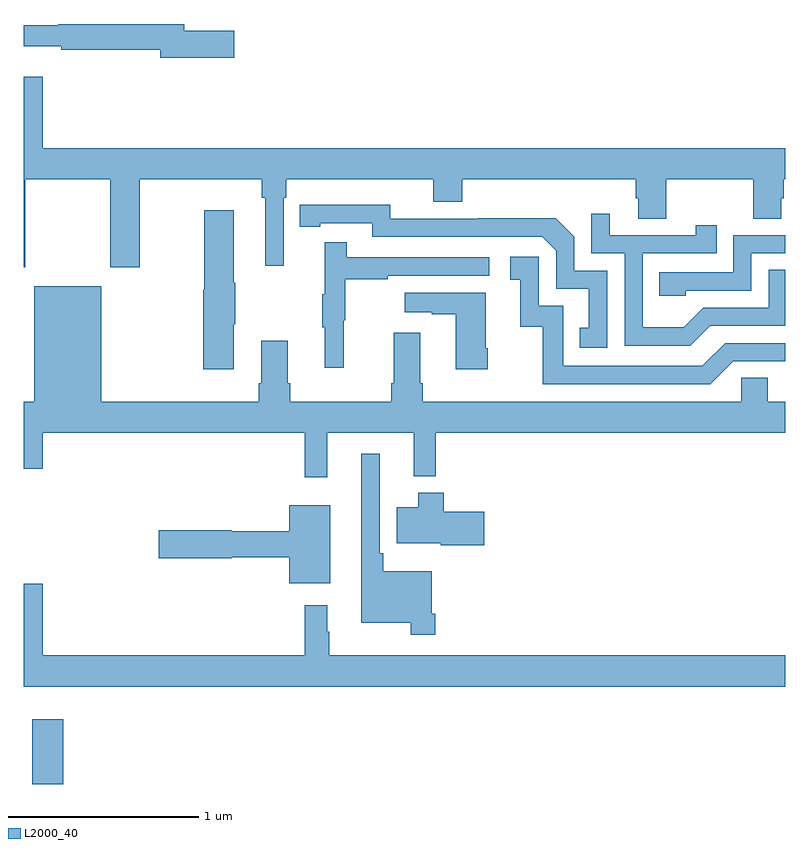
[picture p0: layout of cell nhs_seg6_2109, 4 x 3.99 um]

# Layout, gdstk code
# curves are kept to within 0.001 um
import gdstk
lib = gdstk.Library(unit=1e-6, precision=1e-09)
def R(c, l, rs):  # rectangles x0, y0, x1, y1
    for r in rs: c.add(gdstk.rectangle(r[:2], r[2:], *l))
def P(c, l, *ps):  # polygons
    for p in ps: c.add(gdstk.Polygon(p, *l))
L2000_40 = (2000, 40)

nhs_seg6_2109 = lib.new_cell('nhs_seg6_2109')
R(nhs_seg6_2109, L2000_40, [(237.044,937.5,237.208,937.84)])
P(nhs_seg6_2109, L2000_40, [(238.105,941.456),(237.844,941.456),(237.844,941.492),(237.18,941.492),(237.18,941.485),(237,941.485),(237,941.375),(237.196,941.375),(237.196,941.356),(237.716,941.356),(237.716,941.314),(238.105,941.314)],
  [(237.009,940.676),(237.454,940.676),(237.454,940.215),(237.609,940.215),(237.609,940.676),(238.249,940.676),(238.249,940.58),(238.268,940.58),(238.268,940.221),(238.365,940.221),(238.365,940.58),(238.379,940.58),(238.379,940.676),(239.15,940.676),(239.15,940.559),(239.303,940.559),(239.303,940.676),(240.215,940.676),(240.215,940.578),(240.227,940.578),(240.227,940.468),(240.375,940.468),(240.375,940.676),(240.832,940.676),(240.832,940.468),(240.979,940.468),(240.979,940.578),(240.992,940.578),(240.992,940.676),(241,940.676),(241,940.84),(237.1,940.84),(237.1,941.215),(237,941.215),(237,940.215),(237.009,940.215)],
  [(240.066,940.197),(239.892,940.197),(239.892,940.374),(239.794,940.472),(239.386,940.472),(239.386,940.47),(238.926,940.47),(238.926,940.543),(238.45,940.542),(238.45,940.426),(238.558,940.426),(238.558,940.446),(238.83,940.446),(238.83,940.374),(239.724,940.374),(239.796,940.302),(239.796,940.101),(239.969,940.101),(239.969,939.897),(239.92,939.897),(239.92,939.792),(240.066,939.792)],
  [(238.102,939.916),(238.11,939.916),(238.11,940.133),(238.102,940.133),(238.102,940.513),(237.949,940.513),(237.949,940.095),(237.944,940.095),(237.944,939.678),(238.102,939.678)],
  [(240.607,939.906),(241,939.906),(241,940.201),(240.912,940.201),(240.912,940.002),(240.57,940.002),(240.466,939.898),(240.252,939.898),(240.252,940.287),(240.641,940.287),(240.641,940.435),(240.53,940.435),(240.53,940.383),(240.079,940.383),(240.079,940.495),(239.982,940.495),(239.982,940.287),(240.156,940.287),(240.156,939.801),(240.502,939.801)],
  [(240.477,940.092),(240.822,940.092),(240.822,940.287),(241,940.287),(241,940.383),(240.726,940.383),(240.726,940.188),(240.337,940.188),(240.337,940.065),(240.477,940.065)],
  [(238.682,939.936),(238.69,939.936),(238.69,940.15),(238.913,940.15),(238.913,940.17),(239.446,940.17),(239.446,940.266),(238.697,940.266),(238.697,940.345),(238.58,940.345),(238.58,940.073),(238.569,940.073),(238.569,939.899),(238.58,939.899),(238.58,939.687),(238.682,939.687)],
  [(240.726,939.72),(241,939.72),(241,939.816),(240.684,939.816),(240.564,939.696),(239.835,939.696),(239.835,940.011),(239.706,940.011),(239.706,940.27),(239.556,940.27),(239.556,940.149),(239.609,940.149),(239.609,939.903),(239.727,939.903),(239.727,939.6),(240.606,939.6)],
  [(239.436,939.79),(239.428,939.79),(239.428,940.081),(239.001,940.081),(239.001,939.977),(239.144,939.977),(239.144,939.967),(239.27,939.967),(239.27,939.678),(239.436,939.678)],
  [(238.943,939.871),(238.943,939.604),(238.931,939.604),(238.931,939.508),(238.4,939.508),(238.4,939.604),(238.387,939.604),(238.387,939.829),(238.247,939.829),(238.247,939.604),(238.235,939.604),(238.235,939.508),(237.406,939.508),(237.406,940.114),(237.056,940.114),(237.056,939.508),(237,939.508),(237,939.156),(237.1,939.156),(237.1,939.344),(238.477,939.344),(238.477,939.111),(238.595,939.111),(238.595,939.344),(239.048,939.344),(239.048,939.116),(239.165,939.116),(239.165,939.344),(241,939.344),(241,939.508),(240.907,939.508),(240.907,939.635),(240.768,939.635),(240.768,939.508),(239.096,939.508),(239.096,939.604),(239.083,939.604),(239.083,939.871)],
  [(239.162,938.395),(239.142,938.395),(239.142,938.617),(238.889,938.617),(238.889,938.713),(238.869,938.713),(238.869,939.235),(238.772,939.235),(238.772,938.348),(239.034,938.348),(239.034,938.283),(239.162,938.283)],
  [(239.419,938.931),(239.207,938.931),(239.207,939.031),(239.072,939.031),(239.072,938.953),(238.958,938.953),(238.958,938.765),(239.19,938.765),(239.19,938.753),(239.419,938.753)],
  [(238.609,938.965),(238.394,938.965),(238.394,938.828),(238.092,938.828),(238.092,938.834),(237.708,938.834),(237.708,938.687),(238.092,938.687),(238.092,938.692),(238.394,938.692),(238.394,938.555),(238.609,938.555)],
  [(241,938.176),(238.606,938.176),(238.606,938.3),(238.594,938.3),(238.594,938.44),(238.477,938.44),(238.477,938.176),(237.1,938.176),(237.1,938.551),(237,938.551),(237,938.012),(241,938.012)])

lib.write_gds('nhs_seg6_2109.gds')
